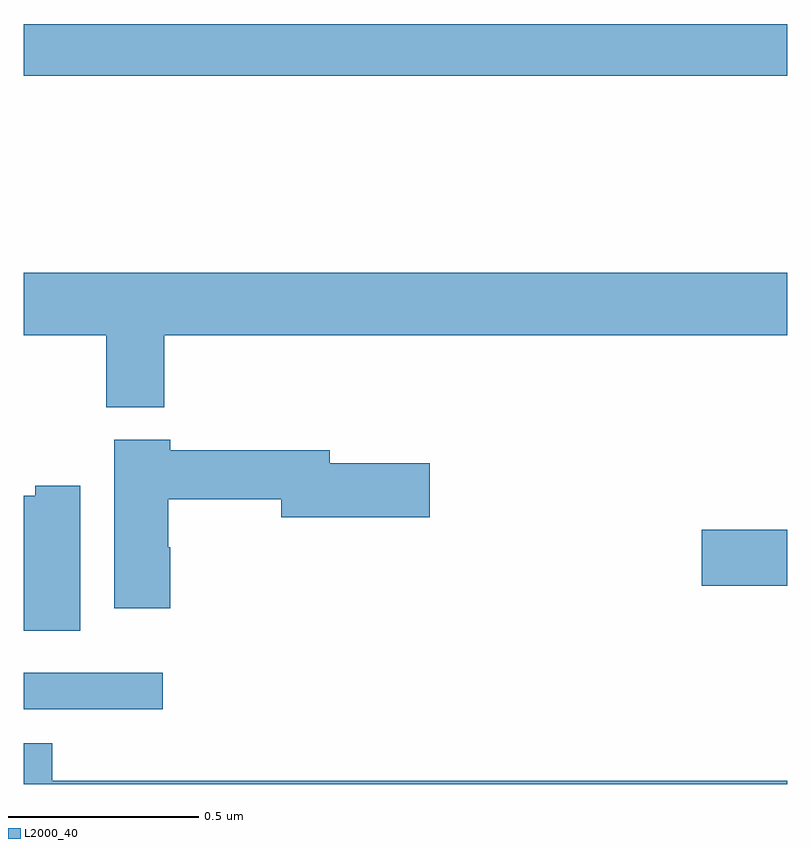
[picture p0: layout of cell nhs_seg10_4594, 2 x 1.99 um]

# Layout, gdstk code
import gdstk
lib = gdstk.Library(unit=1e-6, precision=1e-09)
def R(c, l, rs):  # rectangles x0, y0, x1, y1
    for r in rs: c.add(gdstk.rectangle(r[:2], r[2:], *l))
def P(c, l, *ps):  # polygons
    for p in ps: c.add(gdstk.Polygon(p, *l))
L2000_40 = (2000, 40)

nhs_seg10_4594 = lib.new_cell('nhs_seg10_4594')
R(nhs_seg10_4594, L2000_40, [(168,1272.696,168.364,1272.792), (169.776,1273.019,170,1273.166), (168,1274.356,170,1274.492)])
P(nhs_seg10_4594, L2000_40, [(168.368,1273.676),(170,1273.676),(170,1273.84),(168,1273.84),(168,1273.676),(168.215,1273.676),(168.215,1273.487),(168.368,1273.487)],
  [(168.383,1273.121),(168.378,1273.121),(168.378,1273.246),(168.674,1273.246),(168.674,1273.199),(169.063,1273.199),(169.063,1273.341),(168.802,1273.341),(168.802,1273.375),(168.383,1273.375),(168.383,1273.402),(168.236,1273.402),(168.236,1272.96),(168.383,1272.96)],
  [(168.148,1273.282),(168.03,1273.282),(168.03,1273.255),(168,1273.255),(168,1272.902),(168.148,1272.902)],
  [(170,1272.508),(168.074,1272.508),(168.074,1272.607),(168,1272.607),(168,1272.5),(170,1272.5)])

lib.write_gds('nhs_seg10_4594.gds')
